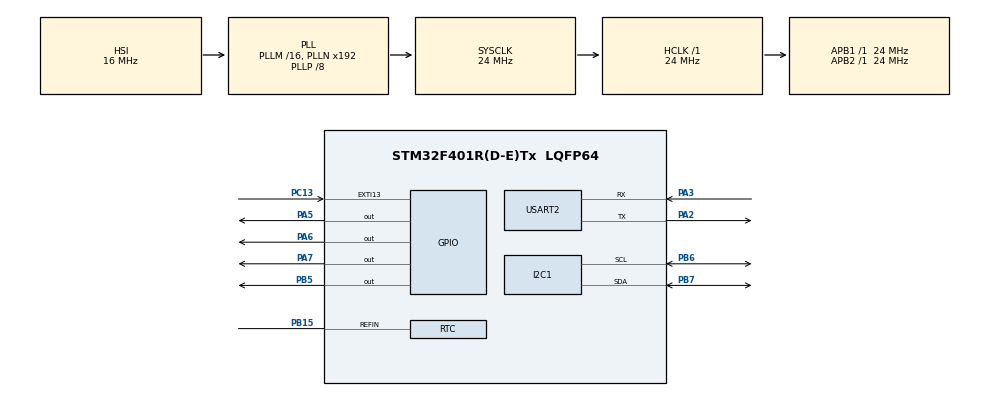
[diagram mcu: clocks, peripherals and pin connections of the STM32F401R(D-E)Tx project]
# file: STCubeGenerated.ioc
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Mcu.Family=STM32F4
Mcu.Name=STM32F401R(D-E)Tx
Mcu.Package=LQFP64
NVIC.EXTI15_10_IRQn=true\:0\:0\:false\:false\:true\:true\:true\:true
NVIC.PriorityGroup=NVIC_PRIORITYGROUP_4
PA2.Mode=Asynchronous
PA2.Signal=USART2_TX
PA3.Mode=Asynchronous
PA3.Signal=USART2_RX
PA5.Signal=GPIO_Output
PA6.Signal=GPIO_Output
PA7.Signal=GPIO_Output
PB15.Mode=Reference_Clock_Detection_Activate
PB15.Signal=RTC_REFIN
PB5.Signal=GPIO_Output
PB6.Mode=I2C
PB6.Signal=I2C1_SCL
PB7.Mode=I2C
PB7.Signal=I2C1_SDA
PC13-ANTI_TAMP.Signal=GPXTI13
PC14-OSC32_IN.Mode=LSE-External-Oscillator
PC14-OSC32_IN.Signal=RCC_OSC32_IN
PC15-OSC32_OUT.Mode=LSE-External-Oscillator
PC15-OSC32_OUT.Signal=RCC_OSC32_OUT
PH0\ -\ OSC_IN.Mode=HSE-External-Oscillator
PH0\ -\ OSC_IN.Signal=RCC_OSC_IN
PH1\ -\ OSC_OUT.Mode=HSE-External-Oscillator
PH1\ -\ OSC_OUT.Signal=RCC_OSC_OUT
ProjectManager.HeapSize=0x200
ProjectManager.StackSize=0x400
ProjectManager.TargetToolchain=MDK-ARM V5
RCC.AHBFreq_Value=24000000
RCC.APB1Freq_Value=24000000
RCC.APB1TimFreq_Value=24000000
RCC.APB2Freq_Value=24000000
RCC.APB2TimFreq_Value=24000000
RCC.CortexFreq_Value=24000000
RCC.HCLKFreq_Value=24000000
RCC.HSE_VALUE=25000000
RCC.HSI_VALUE=16000000
RCC.PLLP=RCC_PLLP_DIV8
RCC.RCC_RTC_Clock_Source=RCC_RTCCLKSOURCE_LSE
RCC.RCC_RTC_Clock_Source_FROM_HSE=RCC_RTCCLKSOURCE_HSE_DIV25
RCC.SYSCLKFreq_VALUE=24000000
RCC.SYSCLKSource=RCC_SYSCLKSOURCE_PLLCLK
RCC.VCOOutputFreq_Value=192000000
USART2.VirtualMode=VM_ASYNC
VP_RTC_VS_RTC_Activate.Mode=RTC_Enabled
VP_RTC_VS_RTC_Calendar.Mode=RTC_Calendar
board=custom

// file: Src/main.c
/* USER CODE BEGIN Header */
/**
  ******************************************************************************
  * @file           : main.c
  * @brief          : Main program body
  ******************************************************************************
  * @attention
  *
  * Copyright (c) 2025 STMicroelectronics.
  * All rights reserved.
  *
  * This software is licensed under terms that can be found in the LICENSE file
  * in the root directory of this software component.
  * If no LICENSE file comes with this software, it is provided AS-IS.
  *
  ******************************************************************************
  */
/* USER CODE END Header */
#include "main.h"

/* USER CODE BEGIN Includes */
#include "../../../../../init_peripherials.h"
#include "../../../../../transmit_and_recieve_control.h"
#include "../../../../../date.h"

#include <stdio.h>
#include <stdbool.h>
#include <math.h>
#include <string.h>

/* USER CODE END Includes */

/* USER CODE BEGIN PD */
/*
 * @brief next three defines below are
 *        basic stuff for working with
 *        lcd 1602 display
 */
#define PIN_RS (1 << 0)
#define PIN_EN (1 << 2)
#define BACKLIGHT (1 << 3)
/* USER CODE END PD */

I2C_HandleTypeDef hi2c1;

RTC_HandleTypeDef hrtc;

UART_HandleTypeDef huart2;

/* USER CODE BEGIN PV */
//float journal[5][2] = {0};
Data journal[5] = {0};
int count = 0;

/*
 * @brief a cople of reserved static addresses
 *
 **/
uint16_t lcd1604_addr = 0x27 << (uint16_t)1;
uint16_t bmp180_addr = 0x77 << (uint16_t)1;
uint8_t calib_data[22];
/*
 * @brief a cople of reserved static addresses
 *
 **/
uint8_t temperature_buf[2];
uint8_t pressure_buf[3];

/*
 * @brief a lot of coeffs to work with
 *        with bmp180
 *
 **/
int16_t AC1, AC2, AC3, B1, B2, MB, MC, MD;
uint16_t AC4, AC5, AC6;
int32_t X1 = 0;
int32_t X2 = 0;
int32_t B5 = 0; //global stuff

//static char msg[32];
char msg_time[32];
static char msg_lcd[32];
int32_t temperature = 0;
int32_t pressure = 0;

RTC_TimeTypeDef time;
RTC_DateTypeDef date;
HAL_StatusTypeDef res;

/* USER CODE END PV */

void SystemClock_Config(void);
static void MX_GPIO_Init(void);
static void MX_USART2_UART_Init(void);
static void MX_I2C1_Init(void);
static void MX_RTC_Init(void);
/* USER CODE BEGIN PFP */
void bmp180_get_global_coefficients(void);
void FindAddress(void);

/* USER CODE END PFP */

/* USER CODE BEGIN 0 */

void FindAddress(void) {
	char msg_address[64] = {0};
	uint16_t i;
	for(i = 0; i < (uint16_t)128; i++) {
		if(HAL_I2C_IsDeviceReady(&hi2c1, i << (uint16_t)1, 1, HAL_MAX_DELAY) == HAL_OK) {
			snprintf(msg_address, sizeof(msg_address), "0x%02X", i);
			HAL_UART_Transmit(&huart2, (uint8_t*)msg_address, sizeof(msg_address)-1, HAL_MAX_DELAY);
		}
	}
}

void bmp180_get_global_coefficients(void) {
	HAL_I2C_Mem_Read(&hi2c1, bmp180_addr, 0xAA, 1, calib_data, 22, HAL_MAX_DELAY);
	AC1 = (int16_t)((calib_data[0] << 8) | calib_data[1]);
	AC2 = (int16_t)((calib_data[2] << 8) | calib_data[3]);
	AC3 = (int16_t)((calib_data[4] << 8) | calib_data[5]);
	AC4 = (uint16_t)((calib_data[6] << 8) | calib_data[7]);
	AC5 = (uint16_t)((calib_data[8] << 8) | calib_data[9]);
	AC6 = (uint16_t)((calib_data[10] << 8) | calib_data[11]);
	B1  = (int16_t)((calib_data[12] << 8) | calib_data[13]);
	B2  = (int16_t)((calib_data[14] << 8) | calib_data[15]);
	MB  = (int16_t)((calib_data[16] << 8) | calib_data[17]);
	MC  = (int16_t)((calib_data[18] << 8) | calib_data[19]);
	MD  = (int16_t)((calib_data[20] << 8) | calib_data[21]);
}

#define RTC_INIT_MAGIC 0x32F2

void init_rtc_once(void)
{
    if (HAL_RTCEx_BKUPRead(&hrtc, RTC_BKP_DR1) != RTC_INIT_MAGIC) {
        RTC_TimeTypeDef sTime = { .Hours = 11, .Minutes = 10, .Seconds = 30 };
        RTC_DateTypeDef sDate = { .WeekDay = RTC_WEEKDAY_SUNDAY, .Month = RTC_MONTH_OCTOBER,
                                  .Date = 19, .Year = 25 };

        HAL_RTC_SetTime(&hrtc, &sTime, RTC_FORMAT_BIN);
        HAL_RTC_SetDate(&hrtc, &sDate, RTC_FORMAT_BIN);

        HAL_RTCEx_BKUPWrite(&hrtc, RTC_BKP_DR1, RTC_INIT_MAGIC);
    }
}

/* USER CODE END 0 */

int main(void)
{
  /* USER CODE BEGIN 1 */
	__HAL_RCC_RTC_DISABLE();
	__HAL_RCC_RTC_CONFIG(RCC_RTCCLKSOURCE_LSE);
	__HAL_RCC_RTC_ENABLE();

  /* USER CODE END 1 */

  /* MCU Configuration--------------------------------------------------------*/

  /* Reset of all peripherals, Initializes the Flash interface and the Systick. */
  HAL_Init();

  /* Configure the system clock */
  SystemClock_Config();

  /* Initialize all configured peripherals */
  MX_GPIO_Init();
  MX_USART2_UART_Init();
  MX_I2C1_Init();
  MX_RTC_Init();
  /* USER CODE BEGIN 2 */
	init_rtc_once();

	bmp180_get_global_coefficients();
	lcd1602_init();
	HAL_Delay(100);
	lcd1602_transmit_command(0b10000000);
	HAL_Delay(1000);
	bmp180_init();

	//HAL_Delay(5);

	/* MEASURING!!! */
	/*temperature = bmp180_get_temperature();
	sprintf(msg_lcd, "t = %.1f", temperature / 10.0);
	lcd1602_transmit_command(0b10000000);
	lcd1602_send_string(msg_lcd);
	HAL_Delay(1000);
	pressure = bmp180_get_pressure();
	sprintf(msg_lcd, "p = %.2f mmHg", pressure / 133.322f);
	lcd1602_transmit_command(0b10000000);
	lcd1602_send_string(msg_lcd);/*

	HAL_Delay(3000);

	RTC_TimeTypeDef time;
	RTC_DateTypeDef date;

	lcd1602_transmit_command(0b10000000);
  /* USER CODE END 2 */

  /* Infinite loop */
  while (1)
  {
		HAL_RTC_GetTime(&hrtc, &time, RTC_FORMAT_BIN);
    HAL_RTC_GetDate(&hrtc, &date, RTC_FORMAT_BIN);

		char buf[64];
    char buf_lcd_first_line[64];
		char buf_lcd_second_line[64];
		//snprintf(buf, sizeof(buf), "%02d:%02d:%02d\r\n", time.Hours, time.Minutes, time.Seconds);
    snprintf(buf_lcd_first_line, sizeof(buf_lcd_first_line), "%02d:%02d:%02d", time.Hours, time.Minutes, time.Seconds);
    //HAL_UART_Transmit(&huart2, (uint8_t*)buf, sizeof(buf)-1, HAL_MAX_DELAY);
		lcd1602_transmit_command(0b10000000);
		lcd1602_send_string(buf_lcd_first_line);
		lcd1602_transmit_command(0b11000000);
		HAL_Delay(1000);
		/*temperature = bmp180_get_temperature();
		pressure = bmp180_get_pressure();
		sprintf(buf_lcd_second_line, "%.2f, %.1f", pressure / 133.322f, temperature / 10.0);
		lcd1602_send_string(buf_lcd_second_line);
    HAL_Delay(1000);*/

		temperature = bmp180_get_temperature();
		sprintf(msg_lcd, "t = %.1f", temperature / 10.0);
		lcd1602_transmit_command(0b10000000);
		lcd1602_send_string(msg_lcd);
		HAL_Delay(1000);
		pressure = bmp180_get_pressure();
		sprintf(msg_lcd, "p = %.2f mmHg", pressure / 133.322f);
		lcd1602_transmit_command(0b10000000);
		lcd1602_send_string(msg_lcd);
		HAL_Delay(1000);
  }
}

void SystemClock_Config(void)
{
  RCC_OscInitTypeDef RCC_OscInitStruct = {0};
  RCC_ClkInitTypeDef RCC_ClkInitStruct = {0};

  /** Configure the main internal regulator output voltage
  */
  __HAL_RCC_PWR_CLK_ENABLE();
  __HAL_PWR_VOLTAGESCALING_CONFIG(PWR_REGULATOR_VOLTAGE_SCALE2);

  /** Initializes the RCC Oscillators according to the specified parameters
  * in the RCC_OscInitTypeDef structure.
  */
  RCC_OscInitStruct.OscillatorType = RCC_OSCILLATORTYPE_HSI|RCC_OSCILLATORTYPE_LSE;
  RCC_OscInitStruct.LSEState = RCC_LSE_ON;
  RCC_OscInitStruct.HSIState = RCC_HSI_ON;
  RCC_OscInitStruct.HSICalibrationValue = RCC_HSICALIBRATION_DEFAULT;
  RCC_OscInitStruct.PLL.PLLState = RCC_PLL_ON;
  RCC_OscInitStruct.PLL.PLLSource = RCC_PLLSOURCE_HSI;
  RCC_OscInitStruct.PLL.PLLM = 16;
  RCC_OscInitStruct.PLL.PLLN = 192;
  RCC_OscInitStruct.PLL.PLLP = RCC_PLLP_DIV8;
  RCC_OscInitStruct.PLL.PLLQ = 4;
  if (HAL_RCC_OscConfig(&RCC_OscInitStruct) != HAL_OK)
  {
    Error_Handler();
  }

  /** Initializes the CPU, AHB and APB buses clocks
  */
  RCC_ClkInitStruct.ClockType = RCC_CLOCKTYPE_HCLK|RCC_CLOCKTYPE_SYSCLK
                              |RCC_CLOCKTYPE_PCLK1|RCC_CLOCKTYPE_PCLK2;
  RCC_ClkInitStruct.SYSCLKSource = RCC_SYSCLKSOURCE_PLLCLK;
  RCC_ClkInitStruct.AHBCLKDivider = RCC_SYSCLK_DIV1;
  RCC_ClkInitStruct.APB1CLKDivider = RCC_HCLK_DIV1;
  RCC_ClkInitStruct.APB2CLKDivider = RCC_HCLK_DIV1;

  if (HAL_RCC_ClockConfig(&RCC_ClkInitStruct, FLASH_LATENCY_0) != HAL_OK)
  {
    Error_Handler();
  }
}

static void MX_I2C1_Init(void)
{

  hi2c1.Instance = I2C1;
  hi2c1.Init.ClockSpeed = 100000;
  hi2c1.Init.DutyCycle = I2C_DUTYCYCLE_2;
  hi2c1.Init.OwnAddress1 = 0;
  hi2c1.Init.AddressingMode = I2C_ADDRESSINGMODE_7BIT;
  hi2c1.Init.DualAddressMode = I2C_DUALADDRESS_DISABLE;
  hi2c1.Init.OwnAddress2 = 0;
  hi2c1.Init.GeneralCallMode = I2C_GENERALCALL_DISABLE;
  hi2c1.Init.NoStretchMode = I2C_NOSTRETCH_DISABLE;
  if (HAL_I2C_Init(&hi2c1) != HAL_OK)
  {
    Error_Handler();
  }

}

static void MX_RTC_Init(void)
{

  RTC_TimeTypeDef sTime = {0};
  RTC_DateTypeDef sDate = {0};

  /** Initialize RTC Only
  */
  hrtc.Instance = RTC;
  hrtc.Init.HourFormat = RTC_HOURFORMAT_24;
  hrtc.Init.AsynchPrediv = 127;
  hrtc.Init.SynchPrediv = 255;
  hrtc.Init.OutPut = RTC_OUTPUT_DISABLE;
  hrtc.Init.OutPutPolarity = RTC_OUTPUT_POLARITY_HIGH;
  hrtc.Init.OutPutType = RTC_OUTPUT_TYPE_OPENDRAIN;
  if (HAL_RTC_Init(&hrtc) != HAL_OK)
  {
    Error_Handler();
  }

  /** Initialize RTC and set the Time and Date
  */
  sTime.Hours = 0x0;
  sTime.Minutes = 0x0;
  sTime.Seconds = 0x0;
  sTime.DayLightSaving = RTC_DAYLIGHTSAVING_NONE;
  sTime.StoreOperation = RTC_STOREOPERATION_RESET;
  if (HAL_RTC_SetTime(&hrtc, &sTime, RTC_FORMAT_BCD) != HAL_OK)
  {
    Error_Handler();
  }
  sDate.WeekDay = RTC_WEEKDAY_MONDAY;
  sDate.Month = RTC_MONTH_JANUARY;
  sDate.Date = 0x1;
  sDate.Year = 0x0;

  if (HAL_RTC_SetDate(&hrtc, &sDate, RTC_FORMAT_BCD) != HAL_OK)
  {
    Error_Handler();
  }

  /** Enable the reference Clock input
  */
  if (HAL_RTCEx_SetRefClock(&hrtc) != HAL_OK)
  {
    Error_Handler();
  }

}

static void MX_USART2_UART_Init(void)
{

  huart2.Instance = USART2;
  huart2.Init.BaudRate = 115200;
  huart2.Init.WordLength = UART_WORDLENGTH_8B;
  huart2.Init.StopBits = UART_STOPBITS_1;
  huart2.Init.Parity = UART_PARITY_NONE;
  huart2.Init.Mode = UART_MODE_TX_RX;
  huart2.Init.HwFlowCtl = UART_HWCONTROL_NONE;
  huart2.Init.OverSampling = UART_OVERSAMPLING_16;
  if (HAL_UART_Init(&huart2) != HAL_OK)
  {
    Error_Handler();
  }

}

static void MX_GPIO_Init(void)
{
  GPIO_InitTypeDef GPIO_InitStruct = {0};

  /* GPIO Ports Clock Enable */
  __HAL_RCC_GPIOC_CLK_ENABLE();
  __HAL_RCC_GPIOH_CLK_ENABLE();
  __HAL_RCC_GPIOA_CLK_ENABLE();
  __HAL_RCC_GPIOB_CLK_ENABLE();

  /*Configure GPIO pin Output Level */
  HAL_GPIO_WritePin(GPIOA, GPIO_PIN_5|GPIO_PIN_6|GPIO_PIN_7, GPIO_PIN_RESET);

  /*Configure GPIO pin Output Level */
  HAL_GPIO_WritePin(GPIOB, GPIO_PIN_5, GPIO_PIN_RESET);

  /*Configure GPIO pin : PC13 */
  GPIO_InitStruct.Pin = GPIO_PIN_13;
  GPIO_InitStruct.Mode = GPIO_MODE_IT_RISING;
  GPIO_InitStruct.Pull = GPIO_NOPULL;
  HAL_GPIO_Init(GPIOC, &GPIO_InitStruct);

  /*Configure GPIO pins : PA5 PA6 PA7 */
  GPIO_InitStruct.Pin = GPIO_PIN_5|GPIO_PIN_6|GPIO_PIN_7;
  GPIO_InitStruct.Mode = GPIO_MODE_OUTPUT_PP;
  GPIO_InitStruct.Pull = GPIO_NOPULL;
  GPIO_InitStruct.Speed = GPIO_SPEED_FREQ_LOW;
  HAL_GPIO_Init(GPIOA, &GPIO_InitStruct);

  /*Configure GPIO pin : PB5 */
  GPIO_InitStruct.Pin = GPIO_PIN_5;
  GPIO_InitStruct.Mode = GPIO_MODE_OUTPUT_PP;
  GPIO_InitStruct.Pull = GPIO_NOPULL;
  GPIO_InitStruct.Speed = GPIO_SPEED_FREQ_LOW;
  HAL_GPIO_Init(GPIOB, &GPIO_InitStruct);

  /* EXTI interrupt init*/
  HAL_NVIC_SetPriority(EXTI15_10_IRQn, 0, 0);
  HAL_NVIC_EnableIRQ(EXTI15_10_IRQn);

}

void Error_Handler(void)
{
  __disable_irq();
  while (1)
  {
  }
}
